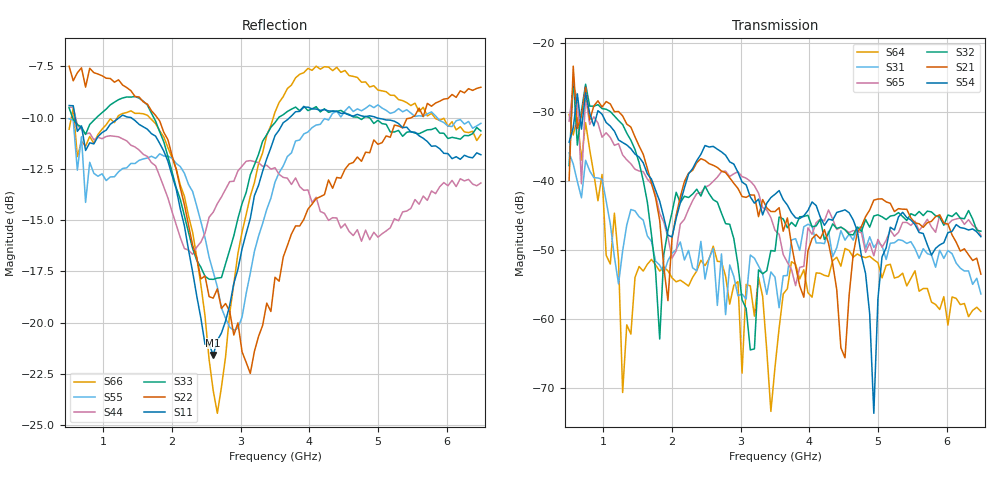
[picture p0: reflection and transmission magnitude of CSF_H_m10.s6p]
!Keysight Technologies,M9804A,MY58100912,A.14.10.03
!Date: Thursday, April 27, 2023 10:28:33
!Correction: S11(C  6-Port  )
!S12(C  6-Port  )
!S13(C  6-Port  )
!S14(C  6-Port  )
!S15(C  6-Port  )
!S16(C  6-Port  )
!S21(C  6-Port  )
!S22(C  6-Port  )
!S23(C  6-Port  )
!S24(C  6-Port  )
!S25(C  6-Port  )
!S26(C  6-Port  )
!S31(C  6-Port  )
!S32(C  6-Port  )
!S33(C  6-Port  )
!S34(C  6-Port  )
!S35(C  6-Port  )
!S36(C  6-Port  )
!S41(C  6-Port  )
!S42(C  6-Port  )
!S43(C  6-Port  )
!S44(C  6-Port  )
!S45(C  6-Port  )
!S46(C  6-Port  )
!S51(C  6-Port  )
!S52(C  6-Port  )
!S53(C  6-Port  )
!S54(C  6-Port  )
!S55(C  6-Port  )
!S56(C  6-Port  )
!S61(C  6-Port  )
!S62(C  6-Port  )
!S63(C  6-Port  )
!S64(C  6-Port  )
!S65(C  6-Port  )
!S66(C  6-Port  )
!S6P File: Measurement: :
# Hz S  RI  R 50
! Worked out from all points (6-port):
!   101 points, 500 MHz to 6.5 GHz, reference 50 ohm
!   strongest paths, dB at 500 MHz, 2 GHz, 3.5 GHz, 5 GHz, 6.5 GHz:
!     S54: -34.3, -48.1, -41.9, -57.0, -48.0
!     S21: -39.9, -48.2, -44.4, -42.6, -53.4
!     S32: -37.7, -44.5, -50.1, -44.8, -47.2
!     S65: -31.3, -51.1, -47.1, -48.4, -47.8
!     S31: -35.9, -50.4, -53.9, -48.8, -56.3
!     S64: -30.3, -54.0, -66.9, -51.8, -58.9
!   lowest |S11| = -21.6 dB at 2.6 GHz (marker M1), VSWR 1.18, Z = 42.5 + j2.05 ohm
!   |S11| at or under -10 dB: 587.6 MHz to 1.233 GHz (645.4 MHz wide, 70.9 % of centre); 1.4 GHz to 3.715 GHz (2.315 GHz wide, 90.5 % of centre); 4.973 GHz to end of sweep
